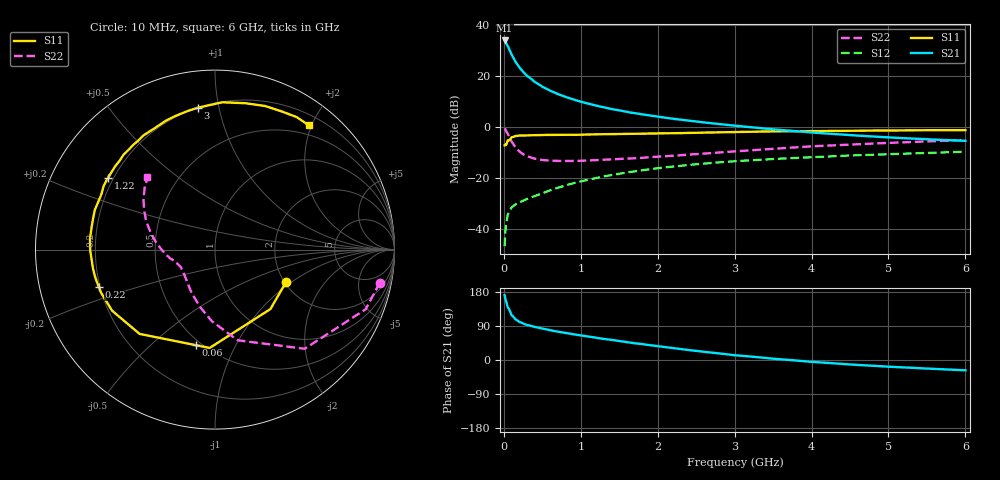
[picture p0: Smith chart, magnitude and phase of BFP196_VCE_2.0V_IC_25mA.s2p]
! Infineon Technologies  Discrete & RF Semiconductors
! BFP196
! VCE = 2.0 V,  IC =  25mA
! Common Emitter S-Parameters:  Jan 2016
# GHz  S  MA  R  50
!  f  S11  S21  S12  S22
! GHz  MAG  ANG  MAG  ANG  MAG  ANG  MAG  ANG
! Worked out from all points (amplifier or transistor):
!   210 points, 10 MHz to 6 GHz, reference 50 ohm
!   highest |S21| = 34.1 dB at 10 MHz (marker M1)
!   |S21| within 3 dB of that: start of sweep to 63.47 MHz
!   unconditionally stable (mu >= 1): 582.5 MHz to 3.475 GHz; 3.545 GHz to 4.334 GHz
!   at 185 MHz: K = 0.55, MSG = 27.1 dB, |S12| = -30.0 dB
!   at 1.52 GHz: K = 1.10, MAG = 10.4 dB, |S12| = -18.3 dB
!   at 6 GHz: K = 0.98, MSG = 2.1 dB, |S12| = -9.7 dB
!   S11 on the Smith chart (normalised r, x): 10 MHz: 2.03, -0.92; 60 MHz: 0.47, -0.71; 220 MHz: 0.20, -0.15; 1.22 GHz: 0.18, +0.30; 3 GHz: 0.20, +0.86; 6 GHz: 0.35, +1.96
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0.01  0.435 -24.9  50.73 171.0  0.0045 81.8  0.9368 -11.3
0.02  0.4529 -47.0  48.17 161.1  0.009 72.0  0.903 -21.6
0.05  0.5487 -93.1  39.77 139.5  0.0186 57.3  0.7446 -47.9
0.06  0.5431 -101.4  36.89 136.5  0.02 53.9  0.6893 -52.0
0.1  0.6301 -131.8  26.91 118.5  0.026 44.3  0.5206 -76.0
0.15  0.6668 -149.3  19.4 107.5  0.0298 42.0  0.3994 -92.5
0.2  0.6785 -159.2  15.09 100.8  0.0326 42.8  0.3326 -104.1
0.22  0.6798 -162.1  13.92 99.2  0.0336 43.2  0.3147 -107.6
0.26  0.6853 -167.4  11.8 95.5  0.0358 44.2  0.2855 -114.8
0.3  0.6879 -171.3  10.25 92.6  0.0382 46.1  0.2676 -120.2
0.4  0.6948 -179.3  7.791 87.3  0.0436 49.2  0.2381 -130.6
0.5  0.6992 175.2  6.238 82.9  0.0496 51.7  0.2239 -138.0
0.7  0.7015 165.4  4.483 74.7  0.0635 54.6  0.2152 -147.1
1.02  0.7062 153.2  3.098 64.3  0.0863 55.4  0.2167 -155.4
1.22  0.7178 146.0  2.601 58.1  0.1006 54.6  0.2231 -159.1
1.6  0.7342 134.0  1.983 47.1  0.1273 51.3  0.2392 -164.7
2.02  0.7506 121.7  1.583 36.1  0.1555 46.3  0.2616 -171.2
3  0.796 97.0  1.064 12.6  0.2123 33.7  0.3311 173.0
3.1  0.7992 95.0  1.029 11.0  0.2166 32.3  0.3389 171.2
4.1  0.8346 76.8  0.762 -6.1  0.2587 20.1  0.4233 155.9
5.1  0.8565 63.1  0.613 -18.6  0.2957 9.1  0.4933 143.6
6  0.8674 53.0  0.535 -27.2  0.3264 -1.0  0.5515 133.0
